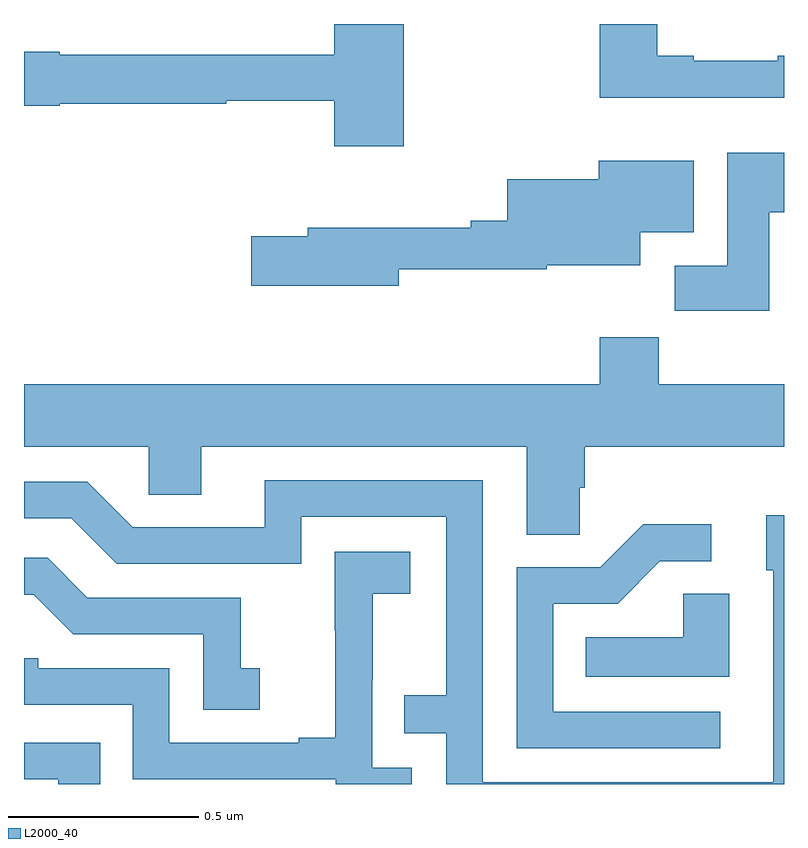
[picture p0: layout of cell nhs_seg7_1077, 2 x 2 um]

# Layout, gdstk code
import gdstk
lib = gdstk.Library(unit=1e-6, precision=1e-09)
def P(c, l, *ps):  # polygons
    for p in ps: c.add(gdstk.Polygon(p, *l))
L2000_40 = (2000, 40)

nhs_seg7_1077 = lib.new_cell('nhs_seg7_1077')
P(nhs_seg7_1077, L2000_40, [(125.999,1063),(125.816,1063),(125.816,1062.919),(125.094,1062.919),(125.094,1062.927),(125,1062.927),(125,1062.785),(125.094,1062.785),(125.094,1062.79),(125.532,1062.79),(125.532,1062.798),(125.816,1062.798),(125.816,1062.678),(125.999,1062.678)],
  [(127,1062.916),(126.983,1062.916),(126.983,1062.903),(126.763,1062.903),(126.763,1062.916),(126.667,1062.916),(126.667,1063),(126.515,1063),(126.515,1062.806),(127,1062.806)],
  [(126.961,1062.505),(127,1062.505),(127,1062.661),(126.851,1062.661),(126.851,1062.364),(126.712,1062.364),(126.712,1062.246),(126.961,1062.246)],
  [(125.986,1062.354),(126.376,1062.354),(126.376,1062.365),(126.622,1062.365),(126.622,1062.452),(126.763,1062.452),(126.763,1062.64),(126.512,1062.64),(126.512,1062.592),(126.272,1062.592),(126.272,1062.482),(126.176,1062.482),(126.176,1062.464),(125.747,1062.464),(125.747,1062.441),(125.598,1062.441),(125.598,1062.311),(125.986,1062.311)],
  [(126.462,1061.779),(126.476,1061.779),(126.476,1061.888),(127,1061.888),(127,1062.052),(126.671,1062.052),(126.671,1062.176),(126.515,1062.176),(126.515,1062.052),(125,1062.052),(125,1061.888),(125.328,1061.888),(125.328,1061.761),(125.467,1061.761),(125.467,1061.888),(126.323,1061.888),(126.323,1061.656),(126.462,1061.656)],
  [(127,1061.707),(126.953,1061.707),(126.953,1061.562),(126.972,1061.562),(126.972,1061.004),(126.207,1061.004),(126.207,1061.799),(125.633,1061.799),(125.633,1061.676),(125.286,1061.676),(125.166,1061.796),(125,1061.796),(125,1061.7),(125.124,1061.7),(125.244,1061.58),(125.73,1061.58),(125.73,1061.703),(126.111,1061.703),(126.111,1061.234),(126.001,1061.234),(126.001,1061.133),(126.111,1061.133),(126.111,1061),(127,1061)],
  [(126.832,1061.19),(126.393,1061.19),(126.393,1061.475),(126.562,1061.475),(126.673,1061.586),(126.808,1061.586),(126.808,1061.684),(126.629,1061.684),(126.516,1061.571),(126.297,1061.571),(126.297,1061.094),(126.832,1061.094)],
  [(126.021,1061.043),(125.916,1061.043),(125.916,1061.273),(125.918,1061.273),(125.918,1061.501),(126.016,1061.501),(126.016,1061.611),(125.818,1061.611),(125.818,1061.405),(125.819,1061.405),(125.819,1061.122),(125.723,1061.122),(125.723,1061.109),(125.382,1061.109),(125.382,1061.304),(125.037,1061.304),(125.037,1061.331),(125,1061.331),(125,1061.208),(125.286,1061.208),(125.286,1061.013),(125.82,1061.013),(125.82,1061),(126.021,1061)],
  [(125.62,1061.305),(125.571,1061.305),(125.571,1061.49),(125.167,1061.49),(125.062,1061.595),(125,1061.595),(125,1061.498),(125.026,1061.498),(125.13,1061.394),(125.472,1061.394),(125.472,1061.196),(125.62,1061.196)],
  [(126.856,1061.501),(126.735,1061.501),(126.735,1061.386),(126.478,1061.386),(126.478,1061.282),(126.856,1061.282)],
  [(125.201,1061.109),(125,1061.109),(125,1061.013),(125.09,1061.013),(125.09,1061),(125.201,1061)])

lib.write_gds('nhs_seg7_1077.gds')
